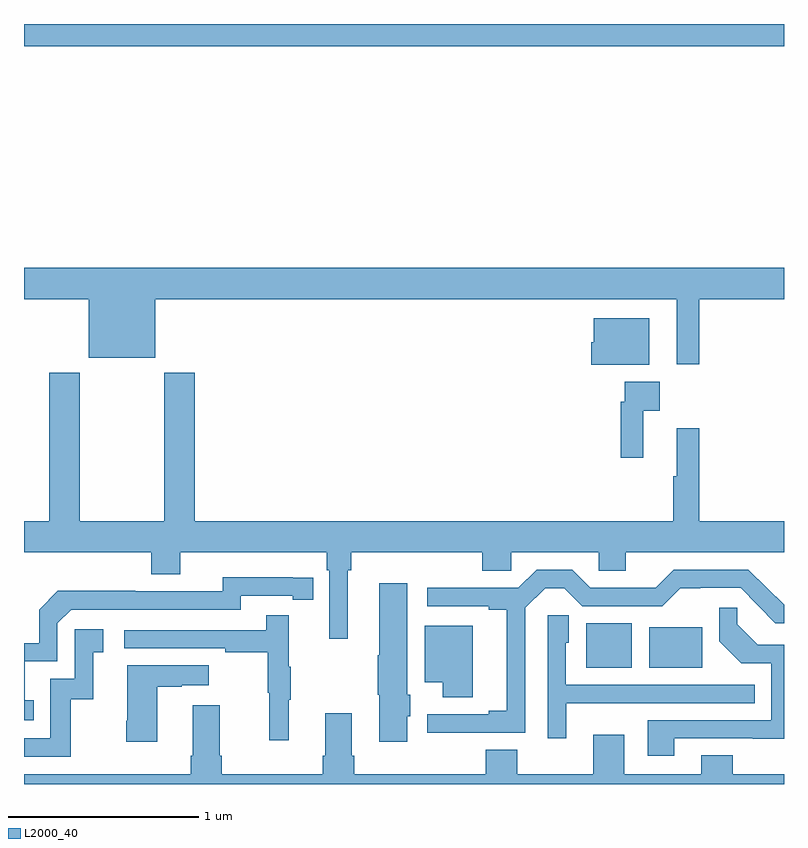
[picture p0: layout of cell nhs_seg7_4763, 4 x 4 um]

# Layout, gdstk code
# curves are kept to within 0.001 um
import gdstk
lib = gdstk.Library(unit=1e-6, precision=1e-09)
def R(c, l, rs):  # rectangles x0, y0, x1, y1
    for r in rs: c.add(gdstk.rectangle(r[:2], r[2:], *l))
def P(c, l, *ps):  # polygons
    for p in ps: c.add(gdstk.Polygon(p, *l))
L2000_40 = (2000, 40)

nhs_seg7_4763 = lib.new_cell('nhs_seg7_4763')
R(nhs_seg7_4763, L2000_40, [(411.959,1062.611,412.198,1062.847), (412.292,1062.611,412.57,1062.826), (409,1065.884,413,1066)])
P(nhs_seg7_4763, L2000_40, [(412.553,1064.552),(413,1064.552),(413,1064.716),(409,1064.716),(409,1064.552),(409.34,1064.552),(409.34,1064.243),(409.69,1064.243),(409.69,1064.552),(412.436,1064.552),(412.436,1064.208),(412.553,1064.208)],
  [(412.291,1064.452),(411.998,1064.452),(411.998,1064.325),(411.986,1064.325),(411.986,1064.207),(412.291,1064.207)],
  [(409.67,1063.103),(409.822,1063.103),(409.822,1063.22),(410.594,1063.22),(410.594,1063.124),(410.607,1063.124),(410.607,1062.765),(410.704,1062.765),(410.704,1063.124),(410.723,1063.124),(410.723,1063.22),(411.413,1063.22),(411.413,1063.122),(411.564,1063.122),(411.564,1063.22),(412.026,1063.22),(412.026,1063.122),(412.168,1063.122),(412.168,1063.22),(413,1063.22),(413,1063.384),(412.553,1063.384),(412.553,1063.873),(412.436,1063.873),(412.436,1063.62),(412.417,1063.62),(412.417,1063.384),(409.898,1063.384),(409.898,1064.164),(409.738,1064.164),(409.738,1063.384),(409.293,1063.384),(409.293,1064.164),(409.133,1064.164),(409.133,1063.384),(409,1063.384),(409,1063.22),(409.67,1063.22)],
  [(412.259,1063.964),(412.345,1063.964),(412.345,1064.116),(412.161,1064.116),(412.161,1064.012),(412.141,1064.012),(412.141,1063.716),(412.259,1063.716)],
  [(411.335,1062.27),(411.639,1062.27),(411.639,1062.927),(411.743,1063.031),(411.844,1063.031),(411.939,1062.936),(412.359,1062.936),(412.454,1063.031),(412.773,1063.032),(412.863,1062.942),(412.861,1062.94),(412.955,1062.846),(413,1062.846),(413,1062.943),(412.813,1063.128),(412.419,1063.128),(412.325,1063.034),(412.22,1063.034),(412.22,1063.032),(411.981,1063.032),(411.885,1063.128),(411.698,1063.128),(411.602,1063.032),(411.369,1063.032),(411.369,1063.034),(411.123,1063.034),(411.123,1062.936),(411.446,1062.936),(411.446,1062.916),(411.542,1062.916),(411.542,1062.386),(411.446,1062.386),(411.446,1062.366),(411.123,1062.366),(411.123,1062.269)],
  [(409.052,1062.441),(409.003,1062.441),(409.003,1062.645),(409.176,1062.645),(409.176,1062.846),(409.248,1062.918),(410.142,1062.918),(410.142,1062.99),(410.414,1062.99),(410.414,1062.97),(410.522,1062.97),(410.522,1063.086),(410.046,1063.087),(410.046,1063.014),(409.586,1063.014),(409.586,1063.016),(409.178,1063.016),(409.08,1062.918),(409.08,1062.741),(409,1062.741),(409,1062.336),(409.052,1062.336)],
  [(411.016,1062.357),(411.034,1062.357),(411.034,1062.471),(411.016,1062.471),(411.016,1063.057),(410.87,1063.057),(410.87,1062.677),(410.863,1062.677),(410.863,1062.471),(410.87,1062.471),(410.87,1062.222),(411.016,1062.222)],
  [(412.423,1062.24),(413,1062.239),(413,1062.732),(412.862,1062.732),(412.754,1062.84),(412.754,1062.928),(412.659,1062.928),(412.659,1062.752),(412.775,1062.636),(412.932,1062.636),(412.932,1062.336),(412.283,1062.336),(412.283,1062.15),(412.423,1062.15)],
  [(410.393,1062.443),(410.404,1062.443),(410.404,1062.617),(410.393,1062.617),(410.393,1062.889),(410.275,1062.889),(410.275,1062.81),(409.527,1062.81),(409.527,1062.714),(410.059,1062.714),(410.059,1062.694),(410.283,1062.694),(410.283,1062.48),(410.29,1062.48),(410.29,1062.231),(410.393,1062.231)],
  [(411.853,1062.425),(412.187,1062.425),(412.187,1062.426),(412.847,1062.426),(412.847,1062.522),(411.852,1062.522),(411.852,1062.744),(411.868,1062.744),(411.868,1062.887),(411.756,1062.887),(411.756,1062.24),(411.853,1062.24)],
  [(411.361,1062.832),(411.11,1062.832),(411.11,1062.536),(411.203,1062.536),(411.203,1062.456),(411.361,1062.456)],
  [(409.246,1062.447),(409.364,1062.447),(409.364,1062.693),(409.417,1062.693),(409.417,1062.814),(409.266,1062.814),(409.266,1062.555),(409.137,1062.555),(409.137,1062.24),(409,1062.24),(409,1062.144),(409.246,1062.144)],
  [(409.702,1062.511),(409.829,1062.511),(409.829,1062.521),(409.972,1062.521),(409.972,1062.625),(409.544,1062.625),(409.544,1062.334),(409.537,1062.334),(409.537,1062.222),(409.702,1062.222)],
  [(413,1062.052),(412.729,1062.052),(412.729,1062.151),(412.565,1062.151),(412.565,1062.052),(412.159,1062.052),(412.159,1062.259),(411.995,1062.259),(411.995,1062.052),(411.595,1062.052),(411.595,1062.181),(411.431,1062.181),(411.431,1062.052),(410.738,1062.052),(410.738,1062.148),(410.725,1062.148),(410.725,1062.373),(410.585,1062.373),(410.585,1062.148),(410.573,1062.148),(410.573,1062.052),(410.042,1062.052),(410.042,1062.148),(410.029,1062.148),(410.029,1062.415),(409.889,1062.415),(409.889,1062.148),(409.877,1062.148),(409.877,1062.052),(409,1062.052),(409,1062),(413,1062)])

lib.write_gds('nhs_seg7_4763.gds')
